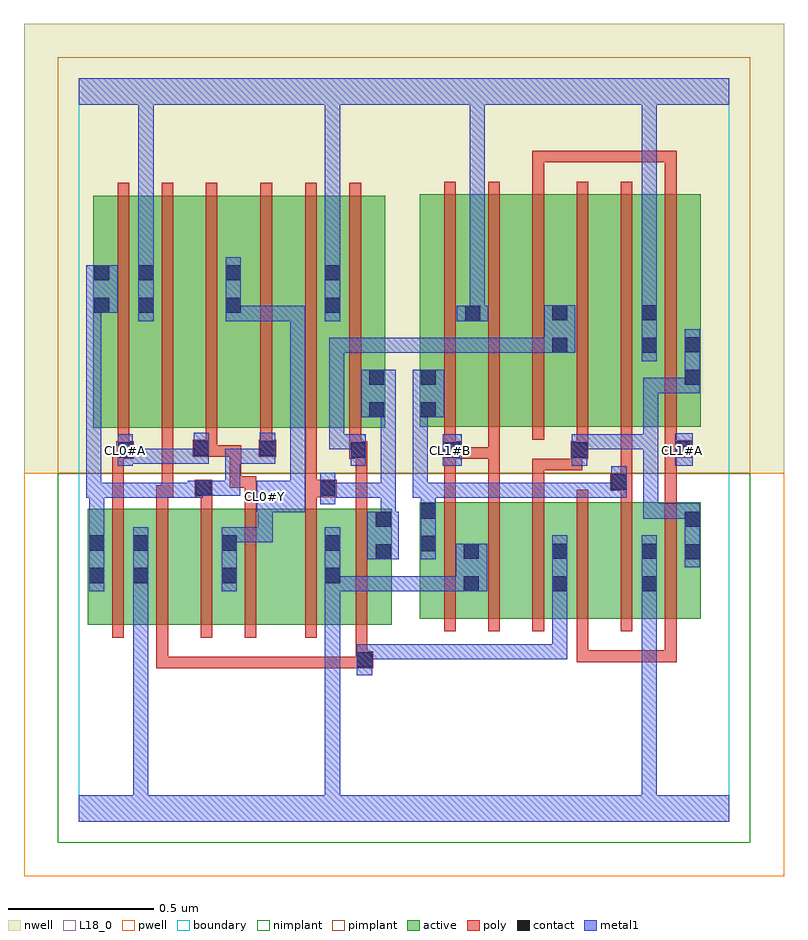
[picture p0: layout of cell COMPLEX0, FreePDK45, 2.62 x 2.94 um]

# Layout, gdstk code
import gdstk
lib = gdstk.Library(unit=1e-6, precision=1e-09)
def R(c, l, rs):  # rectangles x0, y0, x1, y1
    for r in rs: c.add(gdstk.rectangle(r[:2], r[2:], *l))
def A(c, l, x, y, w, h, nx, ny, dx, dy):  # array of equal rectangles
    R(c, l, [(x+i*dx, y+j*dy, x+i*dx+w, y+j*dy+h) for i in range(nx) for j in range(ny)])
active = (1, 0)
pwell = (2, 0)
nwell = (3, 0)
nimplant = (4, 0)
pimplant = (5, 0)
poly = (9, 0)
contact = (10, 0)
metal1 = (11, 0)
L18_0 = (18, 0)
boundary = (235, 0)

complex0 = lib.new_cell('COMPLEX0')
R(complex0, active, [(0.032,0.678,0.244,1.078), (0.184,0.678,0.364,1.078), (0.364,0.678,0.548,1.078), (0.488,0.678,0.668,1.078), (0.668,0.678,0.904,1.078), (0.844,0.678,1.078,1.078), (1.174,0.7,1.382,1.1), (1.322,0.7,1.506,1.1), (1.506,0.7,1.686,1.1), (1.626,0.7,1.81,1.1), (1.81,0.7,1.994,1.1), (1.934,0.7,2.142,1.1), (0.032,0.756,0.092,1.078), (0.184,0.756,0.244,0.99), (0.488,0.756,0.548,0.99), (0.844,0.756,0.904,0.99), (1.018,0.756,1.078,1.078), (1.174,0.756,1.234,1.1), (1.322,0.756,1.382,0.962), (1.626,0.756,1.686,0.962), (1.934,0.756,1.994,0.962), (2.082,0.756,2.142,1.1), (0.05,1.356,0.262,2.156), (0.05,1.356,0.11,2.044), (0.202,1.356,0.382,2.156), (0.382,1.356,0.562,2.156), (0.502,1.356,0.722,2.156), (0.502,1.356,0.562,2.15), (0.722,1.356,0.904,2.156), (0.844,1.356,1.056,2.156), (0.996,1.356,1.056,2.044), (1.174,1.36,1.386,2.16), (1.174,1.36,1.234,2.044), (1.326,1.36,1.506,2.16), (1.506,1.36,1.686,2.16), (1.626,1.36,1.81,2.16), (1.81,1.36,1.994,2.16), (1.934,1.36,2.142,2.16), (2.082,1.36,2.142,2.16), (1.626,1.388,1.686,2.11), (0.202,1.416,0.262,2.044), (1.934,1.526,1.994,2.044), (0.844,1.57,0.904,2.156), (1.326,1.686,1.386,2.044)])
R(complex0, pwell, [(-0.188,-0.188,2.428,1.2)])
R(complex0, nwell, [(-0.188,1.2,2.428,2.748)])
R(complex0, nimplant, [(-0.072,-0.072,2.312,1.2)])
R(complex0, pimplant, [(-0.072,1.2,2.312,2.632)])
A(complex0, poly, 0.438, 0.528, 0.04, 0.04, 3, 1, 0.106, 0)
A(complex0, poly, 0.116, 0.634, 0.04, 0.488, 4, 1, 0.152, 0)
A(complex0, poly, 1.258, 0.656, 0.04, 0.488, 6, 1, 0.152, 0)
A(complex0, poly, 0.134, 1.312, 0.04, 0.888, 3, 1, 0.152, 0)
A(complex0, poly, 1.258, 1.316, 0.04, 0.888, 6, 1, 0.152, 0)
R(complex0, poly, [(0.268,0.528,0.308,0.674), (0.268,0.528,0.308,0.568), (0.268,0.528,0.308,0.568), (0.268,0.528,0.308,0.568), (0.268,0.528,0.478,0.568), (0.438,0.528,0.478,0.568), (0.438,0.528,0.478,0.568), (0.438,0.528,0.584,0.568), (0.544,0.528,0.69,0.568), (0.65,0.528,0.69,0.568), (0.65,0.528,0.69,0.568), (0.65,0.528,0.994,0.568), (0.954,0.528,0.994,0.568), (0.954,0.528,0.994,0.568), (0.954,0.528,1.014,0.588), (0.954,0.548,0.994,0.674), (1.714,0.55,1.754,0.696), (1.714,0.55,1.754,0.59), (1.714,0.55,1.952,0.59), (1.912,0.55,1.952,0.59), (1.912,0.55,1.952,0.59), (1.912,0.55,1.952,0.59), (1.912,0.55,2.058,0.59), (2.018,0.55,2.058,0.696), (2.018,0.55,2.058,0.59), (2.018,0.55,2.058,0.59), (2.018,0.55,2.058,0.59), (0.78,0.634,0.82,1.122), (0.954,0.634,0.994,1.122), (0.116,1.082,0.156,1.29), (0.268,1.082,0.308,1.158), (0.42,1.082,0.46,1.158), (0.572,1.082,0.612,1.19), (0.78,1.082,0.82,1.158), (0.954,1.082,0.994,1.29), (1.258,1.104,1.298,1.29), (1.41,1.104,1.45,1.29), (1.562,1.104,1.602,1.25), (1.866,1.104,1.906,1.18), (2.018,1.104,2.058,1.294), (0.268,1.118,0.308,1.158), (0.268,1.118,0.308,1.158), (0.268,1.118,0.326,1.158), (0.286,1.118,0.326,1.352), (0.4,1.118,0.46,1.178), (0.78,1.118,0.888,1.178), (0.78,1.138,0.82,1.178), (0.78,1.138,0.82,1.178), (0.78,1.138,0.82,1.352), (1.83,1.14,1.906,1.2), (0.52,1.15,0.56,1.296), (0.52,1.15,0.56,1.19), (0.52,1.15,0.612,1.19), (0.572,1.15,0.612,1.19), (1.866,1.16,1.906,1.2), (1.866,1.16,1.906,1.2), (1.866,1.16,1.906,1.356), (1.562,1.21,1.602,1.25), (1.562,1.21,1.602,1.25), (1.562,1.21,1.602,1.25), (1.562,1.21,1.734,1.25), (1.694,1.21,1.734,1.29), (0.116,1.25,0.17,1.29), (0.13,1.25,0.17,1.29), (0.13,1.25,0.19,1.31), (0.932,1.25,0.994,1.31), (0.954,1.25,0.994,1.29), (0.954,1.25,0.994,1.29), (1.256,1.25,1.316,1.31), (1.258,1.25,1.298,1.29), (1.258,1.25,1.298,1.29), (1.258,1.25,1.45,1.29), (1.41,1.25,1.45,1.29), (1.41,1.25,1.45,1.29), (1.41,1.25,1.45,1.29), (1.41,1.25,1.45,1.29), (1.41,1.25,1.45,1.29), (1.41,1.25,1.45,1.356), (1.694,1.25,1.734,1.29), (1.694,1.25,1.754,1.31), (2.018,1.254,2.058,1.294), (2.018,1.254,2.058,1.294), (2.018,1.254,2.11,1.314), (0.392,1.256,0.478,1.316), (0.438,1.256,0.56,1.296), (0.52,1.256,0.56,1.296), (0.62,1.256,0.68,1.316), (0.134,1.27,0.174,1.352), (0.932,1.27,0.972,1.352), (1.258,1.27,1.298,1.356), (1.714,1.27,1.754,1.356), (2.018,1.274,2.058,1.356), (0.438,1.276,0.478,1.352), (0.626,1.276,0.666,1.352), (0.626,1.312,0.666,2.2), (0.78,1.312,0.82,2.2), (0.932,1.312,0.972,2.2), (1.562,2.164,1.602,2.31), (2.018,2.164,2.058,2.31), (1.562,2.27,1.602,2.31), (1.562,2.27,1.764,2.31), (1.724,2.27,1.764,2.31), (1.724,2.27,1.764,2.31), (1.724,2.27,1.764,2.31), (1.724,2.27,1.952,2.31), (1.912,2.27,1.952,2.31), (1.912,2.27,1.952,2.31), (1.912,2.27,1.952,2.31), (1.912,2.27,2.058,2.31), (2.018,2.27,2.058,2.31), (2.018,2.27,2.058,2.31), (2.018,2.27,2.058,2.31)])
R(complex0, contact, [(0.958,0.532,1.01,0.584), (1.326,0.794,1.378,0.846), (1.63,0.794,1.682,0.846), (1.938,0.794,1.99,0.846), (0.036,0.822,0.088,0.874), (0.188,0.822,0.24,0.874), (0.492,0.822,0.544,0.874), (0.848,0.822,0.9,0.874), (1.022,0.904,1.074,0.956), (2.086,0.904,2.138,0.956), (1.326,0.906,1.378,0.958), (1.63,0.906,1.682,0.958), (1.938,0.906,1.99,0.958), (1.178,0.932,1.23,0.984), (0.036,0.934,0.088,0.986), (0.188,0.934,0.24,0.986), (0.492,0.934,0.544,0.986), (0.848,0.934,0.9,0.986), (1.022,1.016,1.074,1.068), (2.086,1.016,2.138,1.068), (1.178,1.044,1.23,1.096), (0.404,1.122,0.456,1.174), (0.832,1.122,0.884,1.174), (1.834,1.144,1.886,1.196), (0.134,1.254,0.186,1.306), (0.936,1.254,0.988,1.306), (1.26,1.254,1.312,1.306), (1.698,1.254,1.75,1.306), (2.054,1.258,2.106,1.31), (0.396,1.26,0.448,1.312), (0.624,1.26,0.676,1.312), (1,1.392,1.052,1.444), (1.178,1.392,1.23,1.444), (1,1.504,1.052,1.556), (1.178,1.504,1.23,1.556), (2.086,1.504,2.138,1.556), (1.63,1.614,1.682,1.666), (1.938,1.614,1.99,1.666), (2.086,1.616,2.138,1.668), (1.33,1.724,1.382,1.776), (1.63,1.726,1.682,1.778), (1.938,1.726,1.99,1.778), (0.054,1.752,0.106,1.804), (0.206,1.752,0.258,1.804), (0.506,1.752,0.558,1.804), (0.848,1.752,0.9,1.804), (0.054,1.864,0.106,1.916), (0.206,1.864,0.258,1.916), (0.506,1.864,0.558,1.916), (0.848,1.864,0.9,1.916)])
R(complex0, metal1, [(0,0,2.24,0.092), (0.188,0.04,0.24,0.092), (0.188,0.04,0.24,0.092), (0.188,0.04,0.24,0.092), (0.188,0.04,0.24,0.092), (0.188,0.04,0.24,0.092), (0.188,0.04,0.24,0.092), (0.188,0.04,0.24,0.092), (0.188,0.04,0.24,0.092), (0.188,0.04,0.24,0.092), (0.188,0.04,0.24,0.092), (0.188,0.04,0.24,0.846), (0.848,0.04,0.9,0.092), (0.848,0.04,0.9,0.092), (0.848,0.04,0.9,0.092), (0.848,0.04,0.9,0.092), (0.848,0.04,0.9,0.092), (0.848,0.04,0.9,0.092), (0.848,0.04,0.9,0.092), (0.848,0.04,0.9,0.092), (0.848,0.04,0.9,0.092), (0.848,0.04,0.9,0.092), (0.848,0.04,0.9,0.846), (1.938,0.04,1.99,0.092), (1.938,0.04,1.99,0.092), (1.938,0.04,1.99,0.092), (1.938,0.04,1.99,0.092), (1.938,0.04,1.99,0.092), (1.938,0.04,1.99,0.092), (1.938,0.04,1.99,0.092), (1.938,0.04,1.99,0.092), (1.938,0.04,1.99,0.092), (1.938,0.04,1.99,0.092), (1.938,0.04,1.99,0.092), (1.938,0.04,1.99,0.092), (1.938,0.04,1.99,0.818), (0.958,0.504,1.01,0.612), (0.958,0.56,1.024,0.612), (0.972,0.56,1.024,0.612), (0.972,0.56,1.212,0.612), (1.16,0.56,1.212,0.612), (1.16,0.56,1.212,0.612), (1.16,0.56,1.212,0.612), (1.16,0.56,1.368,0.612), (1.316,0.56,1.368,0.612), (1.316,0.56,1.368,0.612), (1.316,0.56,1.368,0.612), (1.316,0.56,1.478,0.612), (1.426,0.56,1.478,0.612), (1.426,0.56,1.478,0.612), (1.426,0.56,1.478,0.612), (1.426,0.56,1.682,0.612), (1.63,0.56,1.682,0.612), (1.63,0.56,1.682,0.818), (1.63,0.766,1.682,0.986), (1.938,0.766,1.99,0.986), (0.036,0.794,0.088,1.014), (0.188,0.794,0.24,0.846), (0.188,0.794,0.24,0.846), (0.188,0.794,0.24,1.014), (0.492,0.794,0.544,1.014), (0.848,0.794,0.9,0.846), (0.848,0.794,0.9,0.846), (0.848,0.794,0.9,1.014), (0.848,0.794,1.092,0.846), (1.04,0.794,1.092,0.846), (1.04,0.794,1.092,0.846), (1.04,0.794,1.092,0.846), (1.04,0.794,1.212,0.846), (1.16,0.794,1.212,0.846), (1.16,0.794,1.212,0.846), (1.16,0.794,1.212,0.846), (1.16,0.794,1.35,0.846), (1.298,0.794,1.406,0.958), (2.086,0.876,2.138,1.096), (0.994,0.904,1.102,1.068), (1.178,0.904,1.23,1.124), (0.036,0.962,0.088,1.168), (0.492,0.962,0.668,1.014), (0.616,0.962,0.668,1.014), (0.616,0.962,0.668,1.014), (0.616,0.962,0.668,1.014), (0.616,0.962,0.668,1.118), (1.04,1.016,1.092,1.168), (1.944,1.044,1.996,1.096), (1.944,1.044,1.996,1.096), (1.944,1.044,1.996,1.096), (1.944,1.044,2.138,1.096), (1.944,1.044,1.996,1.334), (2.086,1.044,2.138,1.096), (2.086,1.044,2.138,1.096), (0.614,1.066,0.78,1.174), (1.178,1.072,1.23,1.168), (0.832,1.094,0.884,1.202), (0.026,1.116,0.078,1.168), (0.026,1.116,0.078,1.168), (0.026,1.116,0.078,1.804), (0.026,1.116,0.088,1.168), (0.036,1.116,0.088,1.168), (0.036,1.116,0.088,1.168), (0.036,1.116,0.296,1.168), (0.244,1.116,0.296,1.168), (0.244,1.116,0.296,1.168), (0.244,1.116,0.296,1.168), (0.244,1.116,0.428,1.168), (0.376,1.116,0.428,1.174), (0.832,1.116,0.89,1.168), (0.838,1.116,0.89,1.168), (0.838,1.116,1.092,1.168), (1.04,1.116,1.092,1.168), (1.04,1.116,1.092,1.168), (1.04,1.116,1.092,1.168), (1.04,1.116,1.092,1.444), (1.15,1.116,1.202,1.168), (1.15,1.116,1.202,1.168), (1.15,1.116,1.202,1.444), (1.15,1.116,1.23,1.168), (1.178,1.116,1.23,1.168), (1.178,1.116,1.23,1.168), (1.178,1.116,1.368,1.168), (1.316,1.116,1.368,1.168), (1.316,1.116,1.368,1.168), (1.316,1.116,1.368,1.168), (1.316,1.116,1.53,1.168), (1.478,1.116,1.53,1.168), (1.478,1.116,1.53,1.168), (1.478,1.116,1.53,1.168), (1.478,1.116,1.64,1.168), (1.588,1.116,1.64,1.168), (1.588,1.116,1.64,1.168), (1.588,1.116,1.64,1.168), (1.588,1.116,1.88,1.168), (1.828,1.116,1.88,1.168), (1.828,1.116,1.886,1.168), (1.834,1.116,1.886,1.224), (0.376,1.122,0.428,1.174), (0.376,1.122,0.484,1.174), (0.432,1.122,0.556,1.174), (0.504,1.122,0.556,1.174), (0.504,1.122,0.556,1.284), (0.728,1.122,0.78,1.174), (0.728,1.122,0.78,1.174), (0.728,1.122,0.78,1.776), (0.134,1.226,0.186,1.334), (0.936,1.226,0.988,1.334), (1.254,1.226,1.318,1.334), (1.698,1.226,1.75,1.334), (2.054,1.226,2.114,1.338), (0.134,1.232,0.318,1.284), (0.266,1.232,0.318,1.284), (0.266,1.232,0.318,1.284), (0.266,1.232,0.318,1.284), (0.266,1.232,0.434,1.284), (0.382,1.232,0.434,1.284), (0.382,1.232,0.448,1.284), (0.396,1.232,0.448,1.34), (0.504,1.232,0.556,1.284), (0.504,1.232,0.676,1.284), (0.624,1.232,0.676,1.34), (0.862,1.282,0.914,1.334), (0.862,1.282,0.914,1.334), (0.862,1.282,0.914,1.334), (0.862,1.282,0.988,1.334), (0.862,1.282,0.914,1.666), (1.698,1.282,1.75,1.334), (1.698,1.282,1.75,1.334), (1.698,1.282,1.996,1.334), (1.944,1.282,1.996,1.334), (1.944,1.282,1.996,1.334), (1.944,1.282,1.996,1.334), (1.944,1.282,1.996,1.528), (0.972,1.392,1.092,1.556), (1.04,1.392,1.092,1.444), (1.04,1.392,1.092,1.444), (1.15,1.392,1.258,1.556), (1.944,1.476,1.996,1.528), (1.944,1.476,2.138,1.528), (2.086,1.476,2.138,1.528), (2.086,1.476,2.138,1.528), (2.086,1.476,2.138,1.696), (1.938,1.586,1.99,1.806), (0.862,1.614,0.914,1.666), (0.862,1.614,1.092,1.666), (1.04,1.614,1.092,1.666), (1.04,1.614,1.092,1.666), (1.04,1.614,1.092,1.666), (1.04,1.614,1.24,1.666), (1.188,1.614,1.24,1.666), (1.188,1.614,1.24,1.666), (1.188,1.614,1.24,1.666), (1.188,1.614,1.368,1.666), (1.316,1.614,1.368,1.666), (1.316,1.614,1.368,1.666), (1.316,1.614,1.368,1.666), (1.316,1.614,1.368,1.666), (1.316,1.614,1.368,1.666), (1.316,1.614,1.478,1.666), (1.426,1.614,1.478,1.666), (1.426,1.614,1.478,1.666), (1.426,1.614,1.478,1.666), (1.426,1.614,1.654,1.666), (1.602,1.614,1.71,1.778), (0.206,1.724,0.258,1.944), (0.506,1.724,0.558,1.944), (0.506,1.724,0.774,1.776), (0.722,1.724,0.774,1.776), (0.722,1.724,0.78,1.776), (0.728,1.724,0.78,1.776), (0.848,1.724,0.9,1.944), (1.302,1.724,1.41,1.776), (1.346,1.724,1.398,1.776), (1.346,1.724,1.398,1.776), (1.346,1.724,1.398,1.776), (1.346,1.724,1.398,1.776), (1.346,1.724,1.398,1.776), (1.346,1.724,1.398,1.776), (1.346,1.724,1.398,2.52), (0.026,1.752,0.134,1.916), (1.938,1.754,1.99,2.52), (0.206,1.892,0.258,2.52), (0.848,1.892,0.9,2.52), (0,2.468,2.24,2.56), (0.206,2.468,0.258,2.52), (0.206,2.468,0.258,2.52), (0.206,2.468,0.258,2.52), (0.206,2.468,0.258,2.52), (0.206,2.468,0.258,2.52), (0.206,2.468,0.258,2.52), (0.206,2.468,0.258,2.52), (0.206,2.468,0.258,2.52), (0.848,2.468,0.9,2.52), (0.848,2.468,0.9,2.52), (0.848,2.468,0.9,2.52), (0.848,2.468,0.9,2.52), (0.848,2.468,0.9,2.52), (0.848,2.468,0.9,2.52), (0.848,2.468,0.9,2.52), (0.848,2.468,0.9,2.52), (1.346,2.468,1.398,2.52), (1.346,2.468,1.398,2.52), (1.938,2.468,1.99,2.52), (1.938,2.468,1.99,2.52), (1.938,2.468,1.99,2.52), (1.938,2.468,1.99,2.52), (1.938,2.468,1.99,2.52), (1.938,2.468,1.99,2.52), (1.938,2.468,1.99,2.52), (1.938,2.468,1.99,2.52)])
R(complex0, L18_0, [(0,0,2.24,0.092), (0.188,0.04,0.24,0.092), (0.188,0.04,0.24,0.092), (0.188,0.04,0.24,0.092), (0.188,0.04,0.24,0.092), (0.188,0.04,0.24,0.092), (0.188,0.04,0.24,0.092), (0.188,0.04,0.24,0.092), (0.188,0.04,0.24,0.092), (0.188,0.04,0.24,0.092), (0.188,0.04,0.24,0.092), (0.188,0.04,0.24,0.846), (0.848,0.04,0.9,0.092), (0.848,0.04,0.9,0.092), (0.848,0.04,0.9,0.092), (0.848,0.04,0.9,0.092), (0.848,0.04,0.9,0.092), (0.848,0.04,0.9,0.092), (0.848,0.04,0.9,0.092), (0.848,0.04,0.9,0.092), (0.848,0.04,0.9,0.092), (0.848,0.04,0.9,0.092), (0.848,0.04,0.9,0.846), (1.938,0.04,1.99,0.092), (1.938,0.04,1.99,0.092), (1.938,0.04,1.99,0.092), (1.938,0.04,1.99,0.092), (1.938,0.04,1.99,0.092), (1.938,0.04,1.99,0.092), (1.938,0.04,1.99,0.092), (1.938,0.04,1.99,0.092), (1.938,0.04,1.99,0.092), (1.938,0.04,1.99,0.092), (1.938,0.04,1.99,0.092), (1.938,0.04,1.99,0.092), (1.938,0.04,1.99,0.818), (1.938,0.766,1.99,0.986), (0.188,0.794,0.24,0.846), (0.188,0.794,0.24,0.846), (0.188,0.794,0.24,1.014), (0.492,0.794,0.544,1.014), (0.848,0.794,0.9,0.846), (0.848,0.794,0.9,0.846), (0.848,0.794,0.9,1.014), (0.848,0.794,1.092,0.846), (1.04,0.794,1.092,0.846), (1.04,0.794,1.092,0.846), (1.04,0.794,1.092,0.846), (1.04,0.794,1.212,0.846), (1.16,0.794,1.212,0.846), (1.16,0.794,1.212,0.846), (1.16,0.794,1.212,0.846), (1.16,0.794,1.35,0.846), (1.298,0.794,1.406,0.958), (0.492,0.962,0.668,1.014), (0.616,0.962,0.668,1.014), (0.616,0.962,0.668,1.014), (0.616,0.962,0.668,1.014), (0.616,0.962,0.668,1.118), (0.614,1.066,0.78,1.174), (0.614,1.094,0.666,1.146), (0.728,1.122,0.78,1.174), (0.728,1.122,0.78,1.174), (0.728,1.122,0.78,1.776), (0.134,1.226,0.186,1.334), (1.254,1.226,1.318,1.334), (2.054,1.226,2.114,1.338), (0.134,1.232,0.318,1.284), (0.266,1.232,0.318,1.284), (0.266,1.232,0.318,1.284), (0.266,1.232,0.318,1.284), (0.266,1.232,0.434,1.284), (0.382,1.232,0.434,1.284), (0.382,1.232,0.448,1.284), (0.396,1.232,0.448,1.34), (0.134,1.254,0.186,1.306), (1.254,1.254,1.306,1.306), (2.054,1.254,2.106,1.306), (1.938,1.586,1.99,1.806), (0.206,1.724,0.258,1.944), (0.506,1.724,0.558,1.944), (0.506,1.724,0.774,1.776), (0.722,1.724,0.774,1.776), (0.722,1.724,0.78,1.776), (0.728,1.724,0.78,1.776), (0.848,1.724,0.9,1.944), (1.302,1.724,1.41,1.776), (1.346,1.724,1.398,1.776), (1.346,1.724,1.398,1.776), (1.346,1.724,1.398,1.776), (1.346,1.724,1.398,1.776), (1.346,1.724,1.398,1.776), (1.346,1.724,1.398,1.776), (1.346,1.724,1.398,2.52), (1.938,1.754,1.99,2.52), (0.206,1.892,0.258,2.52), (0.848,1.892,0.9,2.52), (0,2.468,2.24,2.56), (0.206,2.468,0.258,2.52), (0.206,2.468,0.258,2.52), (0.206,2.468,0.258,2.52), (0.206,2.468,0.258,2.52), (0.206,2.468,0.258,2.52), (0.206,2.468,0.258,2.52), (0.206,2.468,0.258,2.52), (0.206,2.468,0.258,2.52), (0.848,2.468,0.9,2.52), (0.848,2.468,0.9,2.52), (0.848,2.468,0.9,2.52), (0.848,2.468,0.9,2.52), (0.848,2.468,0.9,2.52), (0.848,2.468,0.9,2.52), (0.848,2.468,0.9,2.52), (0.848,2.468,0.9,2.52), (1.346,2.468,1.398,2.52), (1.346,2.468,1.398,2.52), (1.938,2.468,1.99,2.52), (1.938,2.468,1.99,2.52), (1.938,2.468,1.99,2.52), (1.938,2.468,1.99,2.52), (1.938,2.468,1.99,2.52), (1.938,2.468,1.99,2.52), (1.938,2.468,1.99,2.52), (1.938,2.468,1.99,2.52)])
R(complex0, boundary, [(0,0,2.24,2.56)])
complex0.add(gdstk.Label('CL0#A', (0.16,1.28), layer=11, texttype=0))
complex0.add(gdstk.Label('CL0#Y', (0.64,1.12), layer=11, texttype=0))
complex0.add(gdstk.Label('CL1#A', (2.08,1.28), layer=11, texttype=0))
complex0.add(gdstk.Label('CL1#B', (1.28,1.28), layer=11, texttype=0))

lib.write_gds('COMPLEX0.gds')
